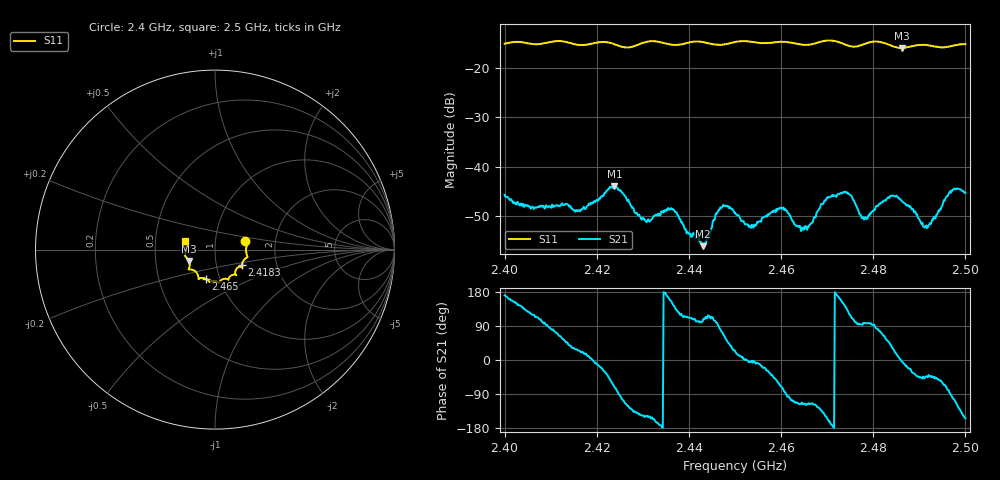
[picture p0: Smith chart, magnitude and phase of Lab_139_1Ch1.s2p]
# Hz S RI R
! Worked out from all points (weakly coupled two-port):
!   601 points, 2.4 GHz to 2.5 GHz, reference 50 ohm
!   highest |S21| = -44.00 dB at 2.4238 GHz (marker M1); lowest = -56.1 dB at 2.443 GHz (marker M2)
!   lowest |S11| = -16.0 dB at 2.4862 GHz (marker M3), VSWR 1.38, Z = 37.1 - j4.81 ohm
!   |S11| at or under -10 dB: start of sweep to end of sweep
!   S12 and S22 are empty: the file has one direction only
!   S11 on the Smith chart (normalised r, x): 2.4 GHz: 1.40, +0.13; 2.4183 GHz: 1.33, -0.24; 2.465 GHz: 0.86, -0.29; 2.5 GHz: 0.71, +0.07
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2.4e9  0.1688 0.0459  -0.00512 0.000801  0 0  0 0
2.416667e9  0.1549 -0.0684  0.00347 0.00126  0 0  0 0
2.418333e9  0.1497 -0.087  0.00419 0.000604  0 0  0 0
2.423833e9  0.1438 -0.0964  0.00204 -0.00597  0 0  0 0
2.430167e9  0.1142 -0.1382  -0.00252 -0.00163  0 0  0 0
2.433333e9  0.1166 -0.1412  -0.00326 -0.000718  0 0  0 0
2.4365e9  0.0946 -0.1419  -0.00312 0.002  0 0  0 0
2.443e9  0.0719 -0.1669  -0.000356 0.00152  0 0  0 0
2.447e9  0.0435 -0.1651  0.00089 0.00371  0 0  0 0
2.45e9  0.0251 -0.1806  0.00312 0.0014  0 0  0 0
2.4535e9  0.0165 -0.1824  0.00239 -0.000189  0 0  0 0
2.460333e9  -0.0287 -0.1809  0.00104 -0.00365  0 0  0 0
2.465e9  -0.0528 -0.1621  -0.00103 -0.00222  0 0  0 0
2.466667e9  -0.0713 -0.1577  -0.00113 -0.00245  0 0  0 0
2.470667e9  -0.0925 -0.1646  -0.00476 -0.00119  0 0  0 0
2.4745e9  -0.0984 -0.1358  -0.00336 0.00412  0 0  0 0
2.478333e9  -0.1363 -0.1106  -0.000381 0.00305  0 0  0 0
2.483333e9  -0.1421 -0.0961  0.00329 0.00362  0 0  0 0
2.486167e9  -0.1448 -0.0632  0.00447 -0.000296  0 0  0 0
2.491333e9  -0.1671 -0.0314  0.00175 -0.00169  0 0  0 0
2.497e9  -0.1634 0.0274  -0.000445 -0.00569  0 0  0 0
2.5e9  -0.1667 0.0471  -0.00487 -0.00239  0 0  0 0
